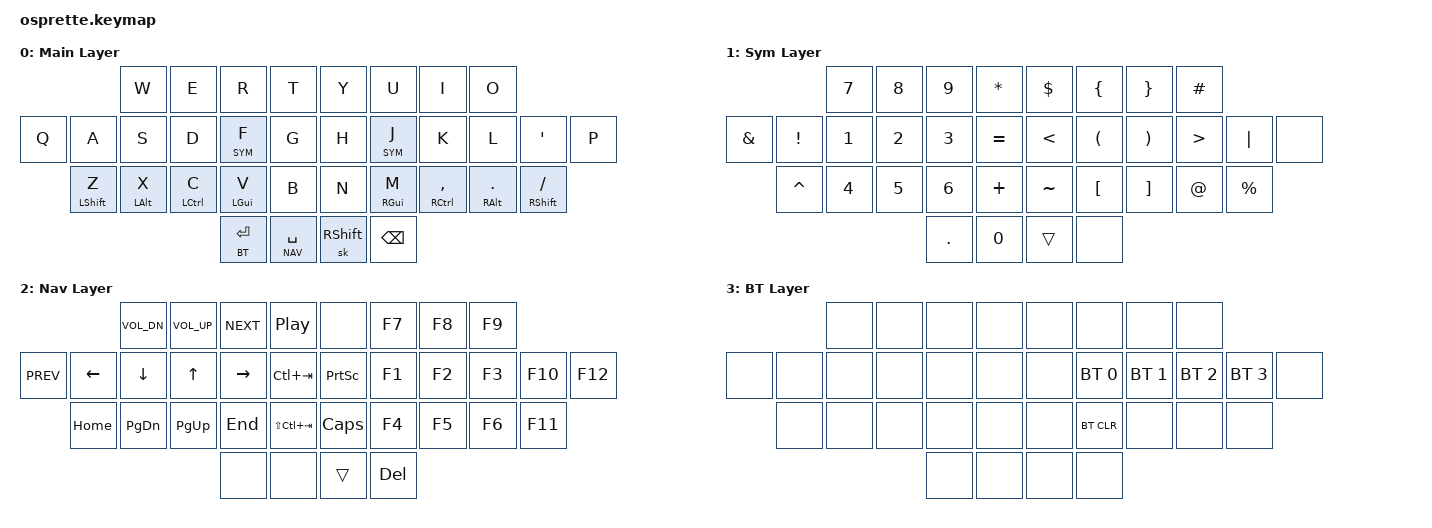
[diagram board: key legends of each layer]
/*
* Copyright (c) 2021 The ZMK Contributors
*
* SPDX-License-Identifier: MIT
*/

#include <behaviors.dtsi>
#include <dt-bindings/zmk/keys.h>
#include <dt-bindings/zmk/bt.h>

#define MAIN 0
#define SYM 1
#define NAV 2
#define BT 3

&mt {
    flavor = "tap-preferred";
    tapping-term-ms = <140>;
};

/ {
    combos {
        compatible = "zmk,combos";

        combo_esc {
            timeout-ms = <100>;
            key-positions = <21 22>;
            bindings = <&kp ESC>;
        };

        combo_tab {
            timeout-ms = <100>;
            key-positions = <22 23>;
            bindings = <&kp TAB>;
        };

        combo_minus {
            timeout-ms = <100>;
            key-positions = <26 27>;
            bindings = <&kp MINUS>;
        };

        combo_underscore {
            timeout-ms = <100>;
            key-positions = <26 28>;
            bindings = <&kp UNDERSCORE>;
        };

        combo_colon {
            timeout-ms = <100>;
            key-positions = <7 8>;
            bindings = <&kp COLON>;
        };

        combo_semicolon {
            timeout-ms = <100>;
            key-positions = <6 8>;
            bindings = <&kp SEMICOLON>;
        };

        combo_backslash {
            timeout-ms = <100>;
            key-positions = <27 28>;
            bindings = <&kp BSLH>;
        };

        combo_grave {
            timeout-ms = <100>;
            key-positions = <8 9>;
            bindings = <&kp GRAVE>;
        };
    };

    keymap {
        compatible = "zmk,keymap";

        MAIN_layer {
            display-name = "Main Layer";
            bindings = <
                            &kp W      &kp E       &kp R        &kp T            &kp Y     &kp U      &kp I           &kp O
          &kp Q &kp A       &kp S      &kp D       &lt SYM F    &kp G            &kp H     &lt SYM J  &kp K           &kp L        &kp SQT        &kp P
                &mt LSHFT Z &mt LALT X &mt LCTRL C &mt LGUI V   &kp B            &kp N     &mt RGUI M &mt RCTRL COMMA &mt RALT DOT &mt RSHFT FSLH
                                                   &lt BT ENTER &lt NAV SPACE    &sk RSHFT &kp BSPC
            >;
        };

        SYM_layer {
            display-name = "Sym Layer";
            bindings = <
                          &kp N7 &kp N8 &kp N9  &kp STAR     &kp DLLR  &kp LBRC &kp RBRC &kp HASH
       &kp AMPS &kp EXCL  &kp N1 &kp N2 &kp N3  &kp EQUAL    &kp LT    &kp LPAR &kp RPAR &kp GT   &kp PIPE  &none
                &kp CARET &kp N4 &kp N5 &kp N6  &kp PLUS     &kp TILDE &kp LBKT &kp RBKT &kp AT   &kp PRCNT
                                        &kp DOT &kp N0       &trans    &none
            >;
        };

        NAV_layer {
            display-name = "Nav Layer";
            bindings = <
                           &kp C_VOL_DN &kp C_VOL_UP &kp C_NEXT &kp C_PP           &none     &kp F7  &kp F8 &kp F9
     &kp C_PREV &kp LEFT   &kp DOWN     &kp UP       &kp RIGHT  &kp LC(TAB)        &kp PSCRN &kp F1  &kp F2 &kp F3 &kp F10 &kp F12
                &kp HOME   &kp PG_DN    &kp PG_UP    &kp END    &kp LS(LC(TAB))    &kp CAPS  &kp F4  &kp F5 &kp F6 &kp F11
                                                     &none      &none              &trans    &kp DEL
            >;
        };

        BT_layer {
            display-name = "BT Layer";
            bindings = <
                      &none &none &none &none    &none &none        &none        &none
          &none &none &none &none &none &none    &none &bt BT_SEL 0 &bt BT_SEL 1 &bt BT_SEL 2 &bt BT_SEL 3 &none
                &none &none &none &none &none    &none &bt BT_CLR   &none        &none        &none
                                  &none &none    &none &none
            >;
        };
    };
};
